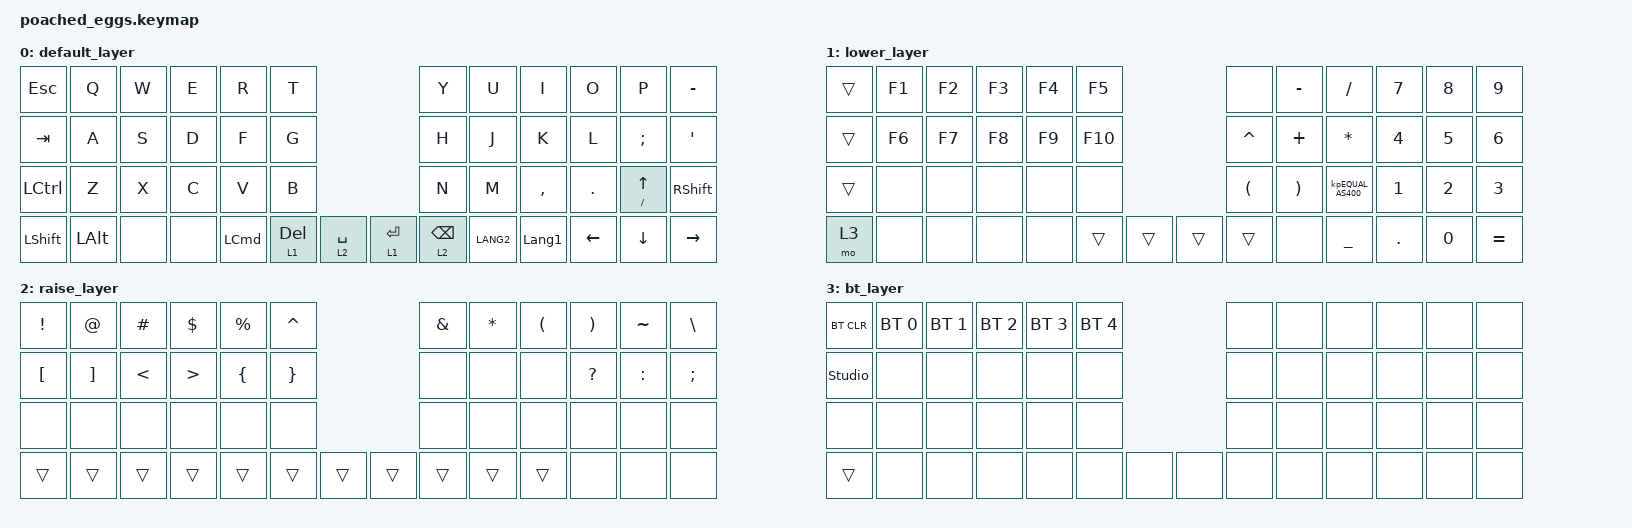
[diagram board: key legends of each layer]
#include <behaviors.dtsi>
#include <dt-bindings/zmk/bt.h>
#include <dt-bindings/zmk/keys.h>

/ {
    combos {
        compatible = "zmk,combos";

        Layer3 {
            bindings = <&mo 3>;
            key-positions = <42 41>;
        };
    };

    keymap {
        compatible = "zmk,keymap";

        default_layer {
            bindings = <
&kp ESCAPE        &kp Q         &kp W  &kp E  &kp R             &kp T                                   &kp Y            &kp U      &kp I           &kp O     &kp P              &kp MINUS
&kp TAB           &kp A         &kp S  &kp D  &kp F             &kp G                                   &kp H            &kp J      &kp K           &kp L     &kp SEMI           &kp SQT
&kp LEFT_CONTROL  &kp Z         &kp X  &kp C  &kp V             &kp B                                   &kp N            &kp M      &kp COMMA       &kp DOT   &mt FSLH UP_ARROW  &kp RSHFT
&kp LEFT_SHIFT    &kp LEFT_ALT  &none  &none  &kp LEFT_COMMAND  &lt 1 DELETE  &lt 2 SPACE  &lt 1 ENTER  &lt 2 BACKSPACE  &kp LANG2  &kp LANGUAGE_1  &kp LEFT  &kp DOWN_ARROW     &kp RIGHT
            >;
        };

        lower_layer {
            bindings = <
&trans  &kp F1  &kp F2  &kp F3  &kp F4  &kp F5                   &none                 &kp MINUS              &kp SLASH           &kp N7        &kp N8        &kp N9
&trans  &kp F6  &kp F7  &kp F8  &kp F9  &kp F10                  &kp CARET             &kp PLUS               &kp ASTERISK        &kp NUMBER_4  &kp NUMBER_5  &kp NUMBER_6
&trans  &none   &none   &none   &none   &none                    &kp LEFT_PARENTHESIS  &kp RIGHT_PARENTHESIS  &kp KP_EQUAL_AS400  &kp NUMBER_1  &kp NUMBER_2  &kp NUMBER_3
&mo 3   &none   &none   &none   &none   &trans   &trans  &trans  &trans                &none                  &kp UNDER           &kp PERIOD    &kp NUMBER_0  &kp EQUAL
            >;
        };

        raise_layer {
            bindings = <
&kp EXCL          &kp AT             &kp HASH       &kp DOLLAR        &kp PRCNT  &kp CARET                  &kp AMPERSAND  &kp ASTRK  &kp LEFT_PARENTHESIS  &kp RIGHT_PARENTHESIS  &kp TILDE  &kp BACKSLASH
&kp LEFT_BRACKET  &kp RIGHT_BRACKET  &kp LESS_THAN  &kp GREATER_THAN  &kp LBRC   &kp RBRC                   &none          &none      &none                 &kp QMARK              &kp COLON  &kp SEMI
&none             &none              &none          &none             &none      &none                      &none          &none      &none                 &none                  &none      &none
&trans            &trans             &trans         &trans            &trans     &trans     &trans  &trans  &trans         &trans     &trans                &none                  &none      &none
            >;
        };

        bt_layer {
            bindings = <
&bt BT_CLR      &bt BT_SEL 0  &bt BT_SEL 1  &bt BT_SEL 2  &bt BT_SEL 3  &bt BT_SEL 4                &none  &none  &none  &none  &none  &none
&studio_unlock  &none         &none         &none         &none         &none                       &none  &none  &none  &none  &none  &none
&none           &none         &none         &none         &none         &none                       &none  &none  &none  &none  &none  &none
&trans          &none         &none         &none         &none         &none         &none  &none  &none  &none  &none  &none  &none  &none
            >;
        };
    };
};
